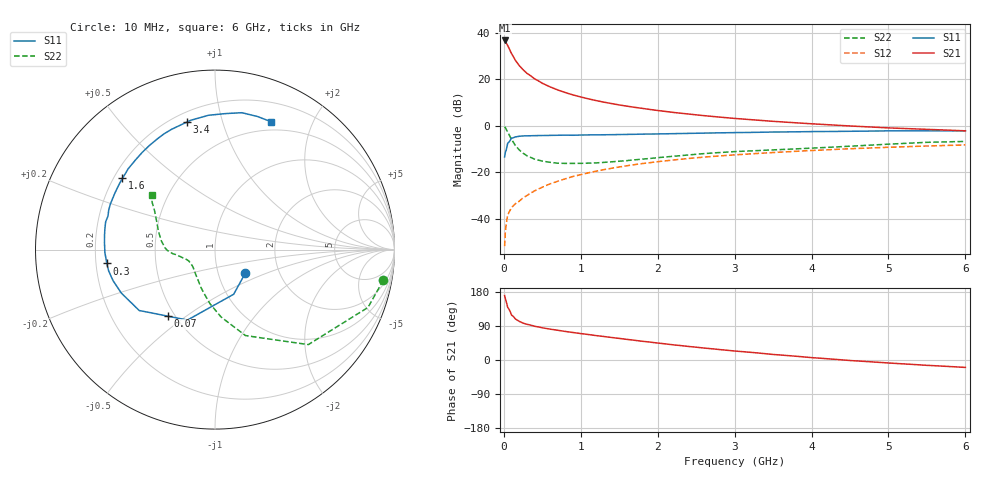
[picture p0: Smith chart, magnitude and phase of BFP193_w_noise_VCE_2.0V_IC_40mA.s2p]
! Infineon Technologies  Discrete & RF Semiconductors
! BFP193
! VCE =  2.0 V,  IC =  40 mA
! Common Emitter S-Parameters:  Jan 2017
# GHz  S  MA  R  50
!  f  S11  S21  S12  S22
! GHz  MAG  ANG  MAG  ANG  MAG  ANG  MAG  ANG
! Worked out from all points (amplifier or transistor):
!   77 points, 10 MHz to 6 GHz, reference 50 ohm
!   highest |S21| = 36.6 dB at 10 MHz (marker M1)
!   |S21| within 3 dB of that: start of sweep to 62.37 MHz
!   unconditionally stable (mu >= 1): 588.9 MHz to 2.506 GHz
!   at 130 MHz: K = 0.59, MSG = 31.7 dB, |S12| = -34.1 dB
!   at 2.2 GHz: K = 1.01, MAG = 9.5 dB, |S12| = -14.7 dB
!   at 6 GHz: K = 0.94, MSG = 3.0 dB, |S12| = -8.2 dB
!   lowest NFmin = 1.38 dB at 450 MHz
!   S11 on the Smith chart (normalised r, x): 10 MHz: 1.34, -0.37; 70 MHz: 0.46, -0.43; 300 MHz: 0.24, -0.06; 1.6 GHz: 0.23, +0.32; 3.4 GHz: 0.26, +0.77; 6 GHz: 0.40, +1.45
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0.01  0.2142 -38.4  67.71 170.2  0.0026 83.8  0.9533 -10.3
0.02  0.2697 -67.3  66.17 161.2  0.0054 77.5  0.9113 -20.7
0.05  0.4212 -111.3  52.7 139.0  0.012 63.5  0.742 -45.5
0.07  0.4536 -125.1  45.13 132.8  0.0141 60.8  0.6352 -53.3
0.1  0.5417 -141.2  35.29 118.7  0.0174 58.1  0.508 -70.5
0.15  0.5754 -155.1  25.37 108.4  0.0212 55.3  0.3766 -84.9
0.2  0.5937 -163.0  19.63 102.0  0.024 59.0  0.3034 -95.2
0.25  0.6043 -168.7  15.94 97.4  0.0284 59.8  0.2575 -102.8
0.3  0.6077 -172.7  13.38 94.2  0.0318 61.2  0.2273 -109.8
0.4  0.6137 -178.5  10.17 89.0  0.04 64.5  0.1919 -120.0
0.5  0.6169 176.5  8.166 85.0  0.0479 65.9  0.1743 -128.3
0.6  0.6207 172.5  6.843 81.5  0.0565 65.8  0.1643 -135.1
0.7  0.6245 169.2  5.874 78.5  0.0643 67.1  0.1571 -140.5
0.8  0.6285 165.7  5.153 75.3  0.0728 66.8  0.1554 -144.7
1.1  0.6359 156.5  3.777 67.2  0.0977 64.5  0.1576 -154.2
1.6  0.6514 142.4  2.632 54.4  0.1384 59.1  0.1784 -164.4
2.1  0.6711 129.4  2.029 42.5  0.1764 52.6  0.2134 -171.5
3.1  0.7153 107.9  1.395 22.1  0.2426 39.6  0.2833 176.3
3.4  0.7275 102.5  1.28 16.6  0.2602 36.1  0.2981 172.0
4.1  0.7505 91.3  1.078 4.9  0.2992 27.5  0.3366 160.3
5.1  0.7766 77.6  0.886 -9.1  0.3492 15.9  0.4097 146.1
6  0.7778 66.5  0.778 -19.6  0.3876 5.9  0.4608 139.1
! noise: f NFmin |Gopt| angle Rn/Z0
0.45  1.38  0.38  -172  0.08
0.9  1.43  0.41  -167  0.08
1.9  2.05  0.59  -135  0.2
2.4  2.37  0.63  -120  0.42
